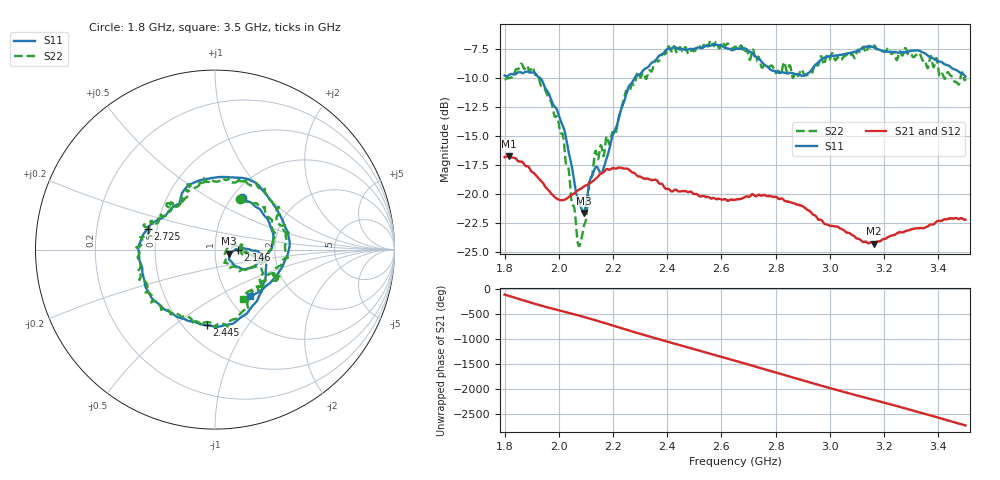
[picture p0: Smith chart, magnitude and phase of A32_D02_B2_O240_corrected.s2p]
! Created with skrf 1.9.0 (http://scikit-rf.org).
# Hz S RI R 50.0
!freq ReS11 ImS11 ReS21 ImS21 ReS12 ImS12 ReS22 ImS22
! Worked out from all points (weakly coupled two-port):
!   1601 points, 1.8 GHz to 3.5 GHz, reference 50 ohm
!   highest |S21| = -16.75 dB at 1.817 GHz (marker M1); lowest = -24.3 dB at 3.163 GHz (marker M2)
!   lowest |S11| = -21.7 dB at 2.091 GHz (marker M3), VSWR 1.18, Z = 58.6 - j2.62 ohm
!   |S11| at or under -10 dB: 1.932 GHz to 2.279 GHz (346.4 MHz wide, 16.5 % of centre)
!   |S22| runs from -24.5 to -6.7 dB; largest |S21 - S12| = 0.0025
!   S11 on the Smith chart (normalised r, x): 1.8 GHz: 1.11, +0.72; 2.146 GHz: 1.29, -0.01; 2.445 GHz: 0.65, -0.66; 2.725 GHz: 0.44, +0.12; 3.5 GHz: 1.25, -0.72
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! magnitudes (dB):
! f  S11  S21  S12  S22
! 1.8 GHz  -9.8  -16.8  -16.8  -10.1
! 1.817 GHz  -9.7  -16.7  -16.8  -10.0
! 1.902 GHz  -9.5  -18.1  -18.1  -9.0
! 1.967 GHz  -11.5  -19.8  -19.9  -11.8
! 2.013 GHz  -14.0  -20.5  -20.5  -14.8
! 2.07 GHz  -20.4  -19.7  -19.7  -24.2
! 2.084 GHz  -21.3  -19.5  -19.5  -23.8
! 2.091 GHz  -21.7  -19.4  -19.4  -22.9
! 2.129 GHz  -18.0  -18.8  -18.8  -17.1
! 2.146 GHz  -17.9  -18.5  -18.4  -16.9
! 2.209 GHz  -14.4  -17.8  -17.8  -14.8
! 2.26 GHz  -10.6  -17.9  -17.9  -11.2
! 2.367 GHz  -8.1  -19.0  -19.0  -8.5
! 2.445 GHz  -7.5  -19.8  -19.8  -7.3
! 2.65 GHz  -7.5  -20.5  -20.5  -7.3
! 2.725 GHz  -8.1  -20.2  -20.2  -8.4
! 2.812 GHz  -9.5  -20.4  -20.3  -9.4
! 2.934 GHz  -9.2  -21.7  -21.7  -9.5
! 3.163 GHz  -7.3  -24.3  -24.2  -7.2
! 3.217 GHz  -7.7  -23.7  -23.7  -7.4
! 3.329 GHz  -7.6  -23.0  -22.9  -7.8
! 3.5 GHz  -9.8  -22.2  -22.2  -10.0
